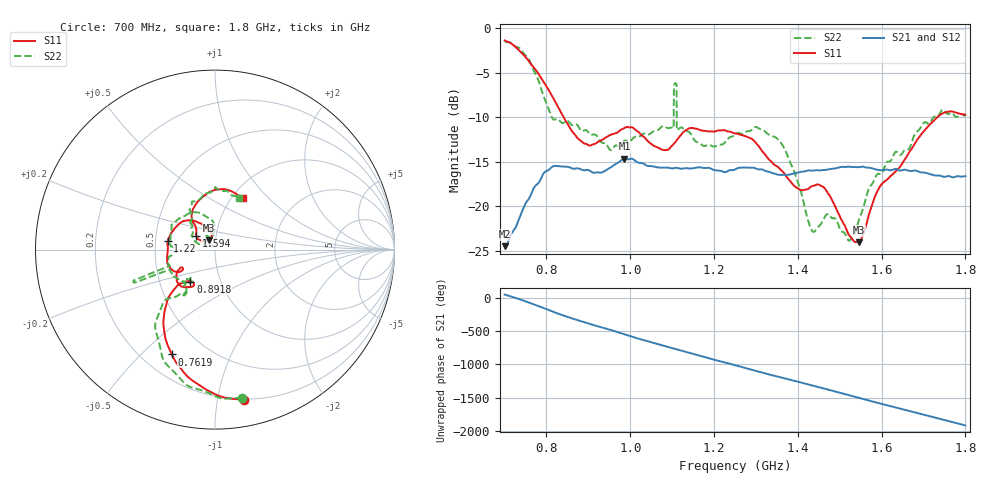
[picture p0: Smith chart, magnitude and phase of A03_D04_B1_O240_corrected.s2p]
! Created with skrf 1.9.0 (http://scikit-rf.org).
# Hz S RI R 50.0
!freq ReS11 ImS11 ReS21 ImS21 ReS12 ImS12 ReS22 ImS22
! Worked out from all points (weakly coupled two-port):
!   1601 points, 700 MHz to 1.8 GHz, reference 50 ohm
!   highest |S21| = -14.63 dB at 986 MHz (marker M1); lowest = -24.5 dB at 700.7 MHz (marker M2)
!   lowest |S11| = -24.0 dB at 1.546 GHz (marker M3), VSWR 1.13, Z = 46.3 + j4.8 ohm
!   |S11| at or under -10 dB: 840.7 MHz to 1.733 GHz (891.9 MHz wide, 69.3 % of centre)
!   |S22| runs from -23.8 to -1.5 dB; largest |S21 - S12| = 0.0035
!   S11 on the Smith chart (normalised r, x): 700 MHz: 0.20, -1.19; 761.9 MHz: 0.32, -0.62; 891.8 MHz: 0.72, -0.27; 1.22 GHz: 0.58, +0.06; 1.594 GHz: 0.80, +0.12; 1.8 GHz: 1.12, +0.72
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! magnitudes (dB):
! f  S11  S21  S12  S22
! 700 MHz  -1.4  -24.5  -24.2  -1.5
! 700.7 MHz  -1.4  -24.5  -24.2  -1.5
! 761.9 MHz  -4.0  -18.8  -18.7  -3.9
! 814.8 MHz  -7.8  -15.5  -15.6  -10.2
! 883.6 MHz  -12.7  -15.9  -15.8  -11.5
! 891.8 MHz  -13.0  -16.0  -16.0  -11.4
! 986 MHz  -11.2  -14.6  -14.7  -12.6
! 1.067 GHz  -13.4  -15.6  -15.6  -11.4
! 1.098 GHz  -13.3  -15.7  -15.7  -11.2
! 1.105 GHz  -13.0  -15.7  -15.7  -6.3
! 1.117 GHz  -12.2  -15.8  -15.7  -11.3
! 1.22 GHz  -11.5  -16.1  -16.1  -13.0
! 1.25 GHz  -11.8  -15.9  -15.8  -12.0
! 1.357 GHz  -15.8  -16.5  -16.4  -12.7
! 1.434 GHz  -17.7  -16.0  -16.0  -22.7
! 1.472 GHz  -18.5  -15.9  -15.9  -20.9
! 1.524 GHz  -23.3  -15.6  -15.5  -23.8
! 1.546 GHz  -24.0  -15.6  -15.6  -21.4
! 1.594 GHz  -17.9  -15.9  -15.9  -16.3
! 1.617 GHz  -16.8  -15.9  -15.9  -15.0
! 1.736 GHz  -9.9  -16.5  -16.6  -9.8
! 1.8 GHz  -9.7  -16.6  -16.6  -9.9
